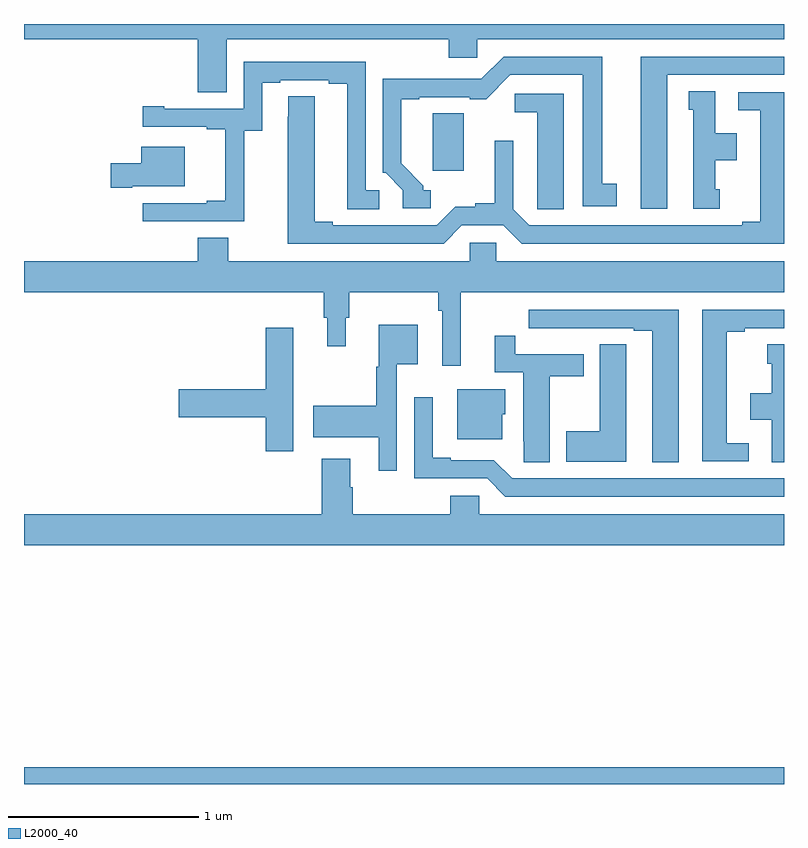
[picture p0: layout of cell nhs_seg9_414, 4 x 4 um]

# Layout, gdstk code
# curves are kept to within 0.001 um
import gdstk
lib = gdstk.Library(unit=1e-6, precision=1e-09)
def R(c, l, rs):  # rectangles x0, y0, x1, y1
    for r in rs: c.add(gdstk.rectangle(r[:2], r[2:], *l))
def P(c, l, *ps):  # polygons
    for p in ps: c.add(gdstk.Polygon(p, *l))
L2000_40 = (2000, 40)

nhs_seg9_414 = lib.new_cell('nhs_seg9_414')
R(nhs_seg9_414, L2000_40, [(131,1192.5,135,1192.588)])
P(nhs_seg9_414, L2000_40, [(133.235,1196.322),(133.386,1196.322),(133.386,1196.42),(135,1196.42),(135,1196.5),(131,1196.5),(131,1196.42),(131.915,1196.42),(131.915,1196.14),(132.067,1196.14),(132.067,1196.42),(133.235,1196.42)],
  [(134.386,1196.232),(135,1196.232),(135,1196.328),(134.246,1196.328),(134.246,1195.527),(134.386,1195.527)],
  [(133.141,1195.626),(133.102,1195.626),(133.102,1195.65),(132.985,1195.766),(132.985,1196.103),(133.081,1196.103),(133.081,1196.115),(133.346,1196.115),(133.346,1196.104),(133.432,1196.104),(133.56,1196.232),(133.94,1196.232),(133.94,1195.542),(134.119,1195.542),(134.119,1195.658),(134.044,1195.658),(134.044,1196.328),(133.524,1196.328),(133.407,1196.211),(133.151,1196.211),(133.151,1196.213),(132.888,1196.213),(132.888,1195.716),(132.903,1195.716),(132.993,1195.626),(132.993,1195.53),(133.141,1195.53)],
  [(132.159,1195.939),(132.253,1195.939),(132.253,1196.19),(132.349,1196.19),(132.349,1196.205),(132.605,1196.205),(132.605,1196.185),(132.701,1196.185),(132.701,1195.525),(132.871,1195.525),(132.871,1195.626),(132.798,1195.626),(132.798,1196.301),(132.156,1196.301),(132.156,1196.055),(131.737,1196.055),(131.737,1196.068),(131.625,1196.068),(131.625,1195.959),(131.963,1195.959),(131.963,1195.947),(132.059,1195.947),(132.059,1195.57),(131.963,1195.57),(131.963,1195.557),(131.625,1195.557),(131.625,1195.461),(132.159,1195.461)],
  [(134.662,1195.629),(134.638,1195.629),(134.638,1195.784),(134.752,1195.784),(134.752,1195.924),(134.638,1195.924),(134.638,1196.147),(134.498,1196.147),(134.498,1196.049),(134.522,1196.049),(134.522,1195.527),(134.662,1195.527)],
  [(133.305,1195.44),(133.523,1195.44),(133.619,1195.344),(135,1195.344),(135,1196.142),(134.76,1196.142),(134.76,1196.046),(134.876,1196.046),(134.876,1195.46),(134.78,1195.46),(134.78,1195.44),(133.659,1195.44),(133.575,1195.524),(133.575,1195.885),(133.478,1195.885),(133.478,1195.556),(133.374,1195.556),(133.374,1195.538),(133.271,1195.538),(133.173,1195.44),(132.625,1195.44),(132.625,1195.46),(132.529,1195.46),(132.529,1196.12),(132.39,1196.12),(132.389,1195.344),(133.209,1195.344)],
  [(133.84,1196.133),(133.584,1196.133),(133.584,1196.036),(133.7,1196.036),(133.7,1195.633),(133.701,1195.633),(133.701,1195.525),(133.84,1195.525)],
  [(133.315,1195.872),(133.314,1195.872),(133.314,1196.03),(133.151,1196.03),(133.151,1195.728),(133.315,1195.728)],
  [(131.569,1195.646),(131.845,1195.646),(131.845,1195.855),(131.618,1195.855),(131.618,1195.768),(131.457,1195.768),(131.457,1195.639),(131.569,1195.639)],
  [(133.298,1195.088),(135,1195.088),(135,1195.252),(133.485,1195.252),(133.485,1195.35),(133.347,1195.35),(133.347,1195.252),(132.075,1195.252),(132.075,1195.376),(131.915,1195.376),(131.915,1195.252),(131,1195.252),(131,1195.088),(132.577,1195.088),(132.577,1194.954),(132.596,1194.954),(132.596,1194.804),(132.694,1194.804),(132.694,1194.954),(132.713,1194.954),(132.713,1195.088),(133.18,1195.088),(133.18,1194.992),(133.2,1194.992),(133.2,1194.702),(133.298,1194.702)],
  [(134.446,1194.996),(133.656,1194.996),(133.656,1194.9),(133.768,1194.9),(133.768,1194.899),(133.934,1194.899),(133.934,1194.9),(134.21,1194.9),(134.21,1194.885),(134.306,1194.885),(134.306,1194.193),(134.446,1194.193)],
  [(134.815,1194.294),(134.698,1194.294),(134.698,1194.88),(134.794,1194.88),(134.794,1194.9),(135,1194.9),(135,1194.996),(134.57,1194.996),(134.57,1194.198),(134.815,1194.198)],
  [(132.963,1194.71),(133.072,1194.71),(133.072,1194.916),(132.866,1194.916),(132.866,1194.696),(132.855,1194.696),(132.855,1194.492),(132.522,1194.492),(132.522,1194.326),(132.866,1194.326),(132.866,1194.15),(132.963,1194.15)],
  [(132.418,1194.901),(132.272,1194.901),(132.272,1194.578),(131.814,1194.578),(131.814,1194.431),(132.272,1194.431),(132.272,1194.252),(132.418,1194.252)],
  [(133.768,1194.646),(133.945,1194.646),(133.945,1194.762),(133.586,1194.762),(133.586,1194.859),(133.478,1194.859),(133.478,1194.666),(133.628,1194.666),(133.628,1194.304),(133.629,1194.304),(133.629,1194.193),(133.768,1194.193)],
  [(134.17,1194.707),(134.169,1194.707),(134.169,1194.815),(134.03,1194.815),(134.03,1194.357),(133.853,1194.357),(133.853,1194.197),(134.17,1194.197)],
  [(135,1194.814),(134.912,1194.814),(134.912,1194.711),(134.936,1194.711),(134.936,1194.556),(134.822,1194.556),(134.822,1194.416),(134.936,1194.416),(134.936,1194.193),(135,1194.193)],
  [(133.516,1194.447),(133.534,1194.447),(133.534,1194.577),(133.28,1194.577),(133.28,1194.314),(133.516,1194.314)],
  [(135,1194.108),(133.569,1194.108),(133.473,1194.204),(133.246,1194.204),(133.246,1194.217),(133.15,1194.217),(133.15,1194.535),(133.053,1194.535),(133.053,1194.108),(133.437,1194.108),(133.533,1194.012),(135,1194.012)],
  [(135,1193.92),(133.395,1193.92),(133.395,1194.018),(133.244,1194.018),(133.244,1193.92),(132.731,1193.92),(132.731,1194.062),(132.718,1194.062),(132.718,1194.211),(132.566,1194.211),(132.566,1193.92),(131,1193.92),(131,1193.756),(135,1193.756)])

lib.write_gds('nhs_seg9_414.gds')
